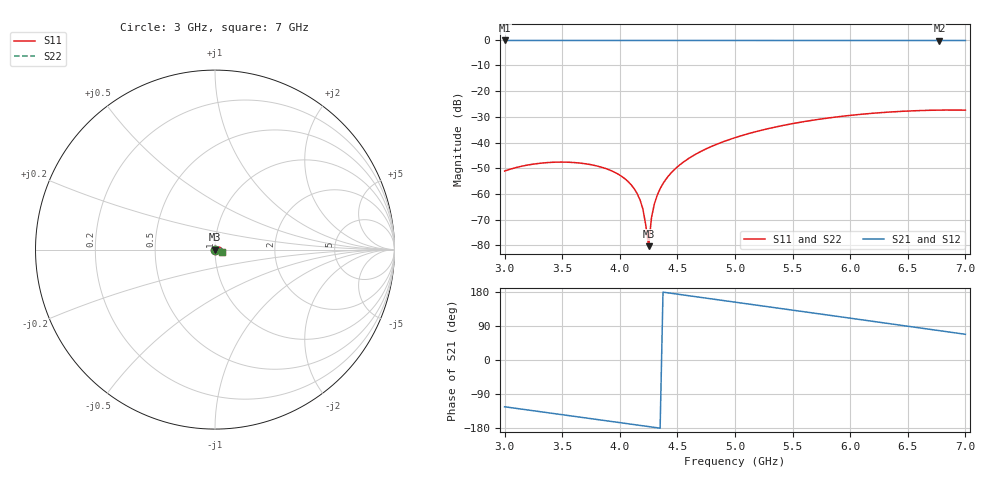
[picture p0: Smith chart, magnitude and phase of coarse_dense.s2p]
! yapnr rf: line-osh-w-w3p00-l20-w-eq, footprint re-simulated (optimization grid)
! spec sha256 02ab086eb18a78028ab123eba90ac3ccdcb1745c3cb020d28b6c0be63683f0e8
! 2 ports renormalized to 50 ohm, e^(+jwt) convention
# GHz S RI R 50
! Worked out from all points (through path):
!   161 points, 3 GHz to 7 GHz, reference 50 ohm
!   highest |S21| = -0.28 dB at 3 GHz (marker M1); lowest = -0.3 dB at 6.775 GHz (marker M2)
!   group delay of S21, straight-line fit = 117 ps
!   lowest |S11| = -80.3 dB at 4.25 GHz (marker M3), VSWR 1.00, Z = 50 + j0.0051 ohm
!   |S11| at or under -10 dB: start of sweep to end of sweep
!   |S22| runs from -80.3 to -27.3 dB; largest |S21 - S12| = 0
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3  0.00181 -0.00214  -0.534 -0.8083  -0.534 -0.8083  0.00181 -0.00214
3.325  0.00202 -0.00346  -0.7081 -0.6607  -0.7081 -0.6607  0.00202 -0.00346
3.675  0.00116 -0.00378  -0.8516 -0.4605  -0.8516 -0.4605  0.00116 -0.00378
3.925  0.000334 -0.00283  -0.9208 -0.2981  -0.9208 -0.2981  0.000334 -0.00283
4.025  8.27e-05 -0.00214  -0.9401 -0.23  -0.9401 -0.23  8.27e-05 -0.00214
4.1  -4.56e-05 -0.0015  -0.9512 -0.1781  -0.9512 -0.1781  -4.56e-05 -0.0015
4.15  -9.43e-05 -0.00102  -0.9571 -0.1432  -0.9571 -0.1432  -9.43e-05 -0.00102
4.2  -0.000108 -0.000505  -0.9617 -0.108  -0.9617 -0.108  -0.000108 -0.000505
4.225  -0.0001 -0.000231  -0.9635 -0.0904  -0.9635 -0.0904  -0.0001 -0.000231
4.25  -8.24e-05 5.1e-05  -0.9649 -0.0727  -0.9649 -0.0727  -8.24e-05 5.1e-05
4.275  -5.35e-05 0.000342  -0.9661 -0.055  -0.9661 -0.055  -5.35e-05 0.000342
4.3  -1.32e-05 0.000641  -0.9669 -0.0373  -0.9669 -0.0373  -1.32e-05 0.000641
4.35  0.000102 0.00126  -0.9676 -0.00184  -0.9676 -0.00184  0.000102 0.00126
4.45  0.000485 0.00259  -0.9651 0.0691  -0.9651 0.0691  0.000485 0.00259
4.575  0.00128 0.00437  -0.9546 0.1573  -0.9546 0.1573  0.00128 0.00437
4.75  0.00305 0.00693  -0.9265 0.2784  -0.9265 0.2784  0.00305 0.00693
5  0.00697 0.0103  -0.8598 0.4432  -0.8598 0.4432  0.00697 0.0103
5.3  0.0136 0.0132  -0.7415 0.621  -0.7415 0.621  0.0136 0.0132
5.675  0.0238 0.0133  -0.5433 0.8  -0.5433 0.8  0.0238 0.0133
6.35  0.0394 0.00204  -0.0932 0.9623  -0.0932 0.9623  0.0394 0.00204
6.775  0.0417 -0.00986  0.2103 0.9436  0.2103 0.9436  0.0417 -0.00986
7  0.0397 -0.0159  0.3648 0.8953  0.3648 0.8953  0.0397 -0.0159
